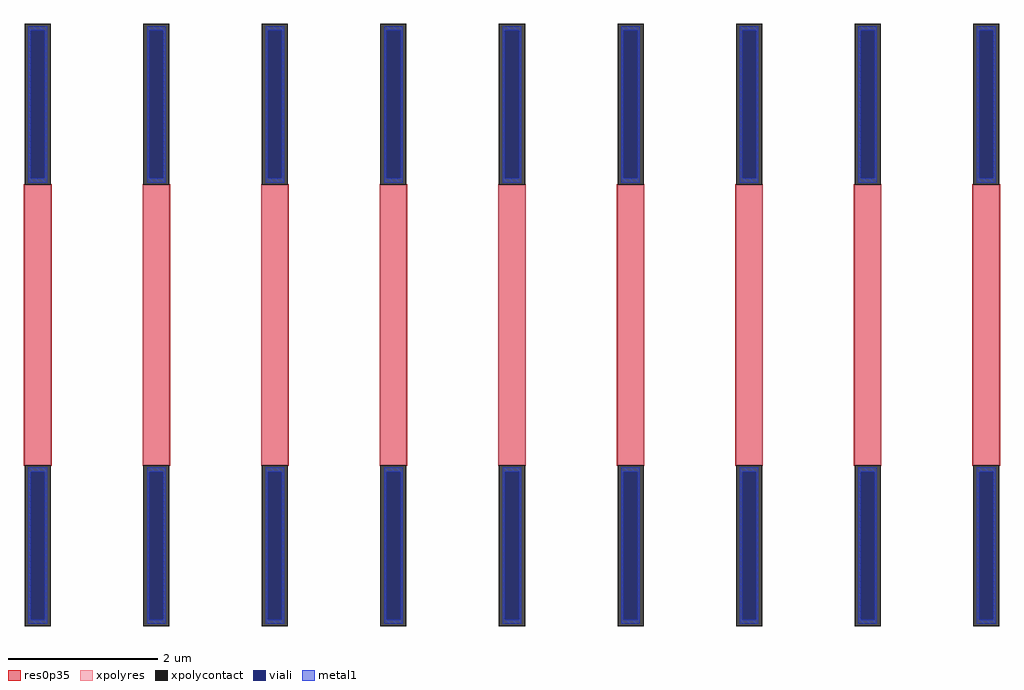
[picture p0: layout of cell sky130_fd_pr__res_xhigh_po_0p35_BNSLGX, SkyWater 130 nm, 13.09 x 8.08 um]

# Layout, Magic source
magic
tech sky130A
magscale 1 2
<< xpolycontact >>
rect -1307 376 -1237 808
rect -1307 -808 -1237 -376
rect -989 376 -919 808
rect -989 -808 -919 -376
rect -671 376 -601 808
rect -671 -808 -601 -376
rect -353 376 -283 808
rect -353 -808 -283 -376
rect -35 376 35 808
rect -35 -808 35 -376
rect 283 376 353 808
rect 283 -808 353 -376
rect 601 376 671 808
rect 601 -808 671 -376
rect 919 376 989 808
rect 919 -808 989 -376
rect 1237 376 1307 808
rect 1237 -808 1307 -376
<< xpolyres >>
rect -1307 -376 -1237 376
rect -989 -376 -919 376
rect -671 -376 -601 376
rect -353 -376 -283 376
rect -35 -376 35 376
rect 283 -376 353 376
rect 601 -376 671 376
rect 919 -376 989 376
rect 1237 -376 1307 376
<< viali >>
rect -1291 393 -1253 790
rect -973 393 -935 790
rect -655 393 -617 790
rect -337 393 -299 790
rect -19 393 19 790
rect 299 393 337 790
rect 617 393 655 790
rect 935 393 973 790
rect 1253 393 1291 790
rect -1291 -790 -1253 -393
rect -973 -790 -935 -393
rect -655 -790 -617 -393
rect -337 -790 -299 -393
rect -19 -790 19 -393
rect 299 -790 337 -393
rect 617 -790 655 -393
rect 935 -790 973 -393
rect 1253 -790 1291 -393
<< metal1 >>
rect -1297 790 -1247 802
rect -1297 393 -1291 790
rect -1253 393 -1247 790
rect -1297 381 -1247 393
rect -979 790 -929 802
rect -979 393 -973 790
rect -935 393 -929 790
rect -979 381 -929 393
rect -661 790 -611 802
rect -661 393 -655 790
rect -617 393 -611 790
rect -661 381 -611 393
rect -343 790 -293 802
rect -343 393 -337 790
rect -299 393 -293 790
rect -343 381 -293 393
rect -25 790 25 802
rect -25 393 -19 790
rect 19 393 25 790
rect -25 381 25 393
rect 293 790 343 802
rect 293 393 299 790
rect 337 393 343 790
rect 293 381 343 393
rect 611 790 661 802
rect 611 393 617 790
rect 655 393 661 790
rect 611 381 661 393
rect 929 790 979 802
rect 929 393 935 790
rect 973 393 979 790
rect 929 381 979 393
rect 1247 790 1297 802
rect 1247 393 1253 790
rect 1291 393 1297 790
rect 1247 381 1297 393
rect -1297 -393 -1247 -381
rect -1297 -790 -1291 -393
rect -1253 -790 -1247 -393
rect -1297 -802 -1247 -790
rect -979 -393 -929 -381
rect -979 -790 -973 -393
rect -935 -790 -929 -393
rect -979 -802 -929 -790
rect -661 -393 -611 -381
rect -661 -790 -655 -393
rect -617 -790 -611 -393
rect -661 -802 -611 -790
rect -343 -393 -293 -381
rect -343 -790 -337 -393
rect -299 -790 -293 -393
rect -343 -802 -293 -790
rect -25 -393 25 -381
rect -25 -790 -19 -393
rect 19 -790 25 -393
rect -25 -802 25 -790
rect 293 -393 343 -381
rect 293 -790 299 -393
rect 337 -790 343 -393
rect 293 -802 343 -790
rect 611 -393 661 -381
rect 611 -790 617 -393
rect 655 -790 661 -393
rect 611 -802 661 -790
rect 929 -393 979 -381
rect 929 -790 935 -393
rect 973 -790 979 -393
rect 929 -802 979 -790
rect 1247 -393 1297 -381
rect 1247 -790 1253 -393
rect 1291 -790 1297 -393
rect 1247 -802 1297 -790
<< res0p35 >>
rect -1309 -378 -1235 378
rect -991 -378 -917 378
rect -673 -378 -599 378
rect -355 -378 -281 378
rect -37 -378 37 378
rect 281 -378 355 378
rect 599 -378 673 378
rect 917 -378 991 378
rect 1235 -378 1309 378
<< properties >>
string gencell sky130_fd_pr__res_xhigh_po_0p35
string parameters w 0.350 l 3.763 m 1 nx 9 wmin 0.350 lmin 0.50 rho 2000 val 22.188k dummy 0 dw 0.0 term 120 sterm 0.0 caplen 0 wmax 0.350 guard 0 glc 1 grc 1 gtc 1 gbc 1 compatible {sky130_fd_pr__res_xhigh_po_0p35  sky130_fd_pr__res_xhigh_po_0p69 sky130_fd_pr__res_xhigh_po_1p41  sky130_fd_pr__res_xhigh_po_2p85 sky130_fd_pr__res_xhigh_po_5p73} full_metal 1 vias 1 viagb 0 viagt 0 viagl 0 viagr 0
string library sky130
<< end >>
